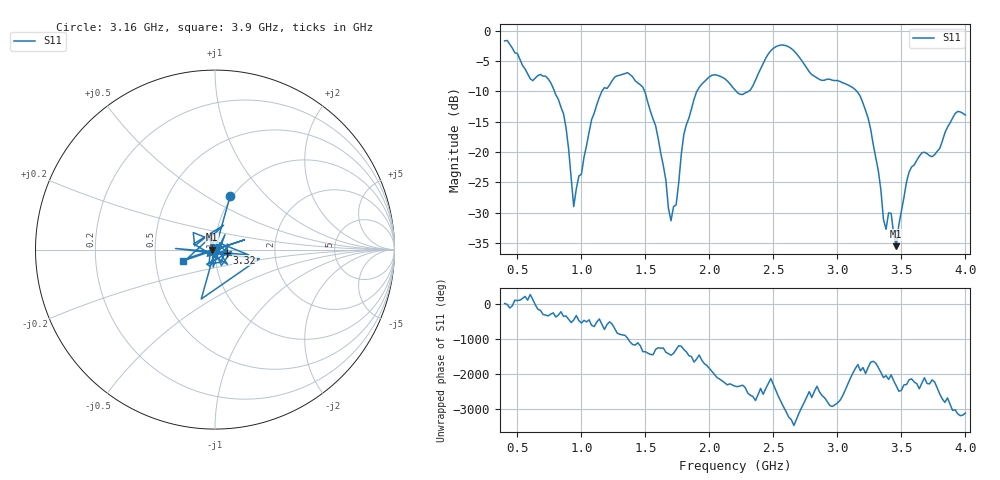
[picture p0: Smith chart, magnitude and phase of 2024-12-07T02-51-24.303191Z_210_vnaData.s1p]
!Created with skrf (http://scikit-rf.org).
# Hz S RI R 50.0
!freq ReS11 ImS11
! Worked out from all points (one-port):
!   181 points, 400 MHz to 4 GHz, reference 50 ohm
!   lowest |S11| = -35.5 dB at 3.46 GHz (marker M1), VSWR 1.03, Z = 48.4 - j0.0914 ohm
!   |S11| at or under -10 dB: 789.3 MHz to 1.16 GHz (370.8 MHz wide, 38 % of centre); 1.493 GHz to 1.902 GHz (409 MHz wide, 24.1 % of centre); 3.151 GHz to end of sweep (the widest 3 of 4)
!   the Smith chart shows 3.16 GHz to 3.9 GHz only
!   S11 on the Smith chart (normalised r, x): 3.16 GHz: 0.98, +0.64; 3.32 GHz: 1.14, -0.04; 3.9 GHz: 0.69, -0.09
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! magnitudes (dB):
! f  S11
! 400 MHz  -1.7
! 600 MHz  -7.9
! 740 MHz  -8.0
! 860 MHz  -13.7
! 940 MHz  -29.0
! 1.14 GHz  -11.0
! 1.3 GHz  -7.4
! 1.5 GHz  -10.3
! 1.58 GHz  -15.7
! 1.7 GHz  -31.3
! 1.76 GHz  -25.1
! 1.8 GHz  -17.1
! 1.92 GHz  -9.4
! 2.04 GHz  -7.3
! 2.2 GHz  -9.8
! 2.32 GHz  -9.8
! 2.5 GHz  -2.9
! 2.66 GHz  -3.3
! 3.1 GHz  -9.2
! 3.16 GHz  -10.2
! 3.32 GHz  -23.1
! 3.36 GHz  -31.1
! 3.42 GHz  -30.1
! 3.46 GHz  -35.5
! 3.56 GHz  -23.3
! 3.8 GHz  -19.4
! 3.9 GHz  -14.4
! 4 GHz  -13.9
